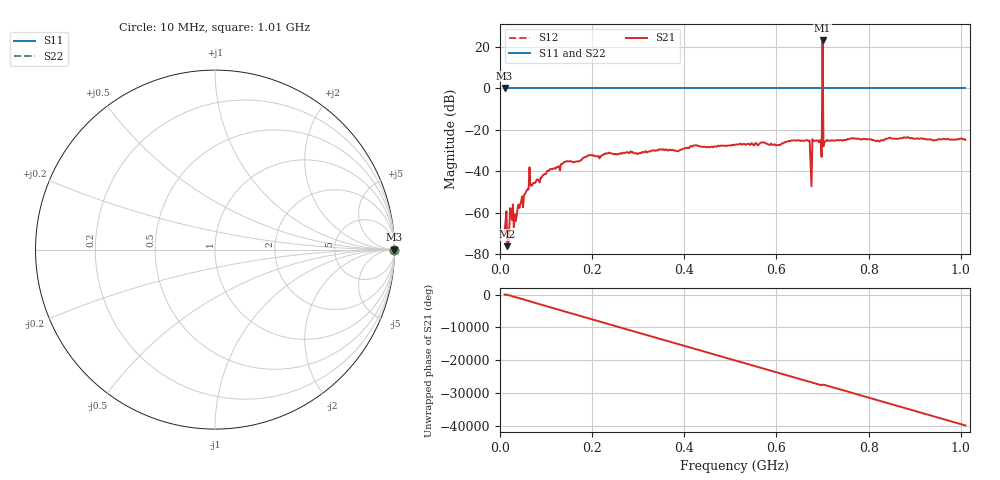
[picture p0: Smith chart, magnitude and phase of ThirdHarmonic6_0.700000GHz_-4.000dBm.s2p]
! 8/15/2025 11:22:43 PM
! C:\ANRITSUVNA\TEMP\TEMP.S2P
! CHANNEL.1
! TR.MEASUREMENT
! RAW.DATA
! RF.CORRECTION.OFF
! AVERAGING.OFF
! IF.BANDWIDTH: 5KHZ
! SWEEPTYPE:  FREQ.SWEEP(Linear)
! Reference Plane Port Info
! PORT:  PORT1  PORT2
! DISTANCE:  0  m  0  m
! TIME:  0  s  0  s
! PHASE.OFFSET:  0  deg.  0  deg.
! LOSS:  0  dB  0  dB
! REF.LOSS:  0  dB  0  dB
! REF.FREQ:  0  Hz  0  Hz
! Power Info
! POWER:  -20  dBm  -20  dBm
! EFF.POWER:  -20  dBm  -20  dBm
! SOURCE.ATTEN:  0  dB  0  dB
! TEST.ATTEN:  0  dB  0  dB
# GHZ S RI R 50.0
! FREQ.GHZ  S11RE  S11IM  S21RE  S21IM  S12RE  S12IM  S22RE  S22IM
!; PortSelection: Port_12
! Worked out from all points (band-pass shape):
!   501 points, 10 MHz to 1.01 GHz, reference 50 ohm
!   highest |S21| = 22.96 dB at 700 MHz (marker M1); lowest = -76.2 dB at 16 MHz (marker M2)
!   |S21| within 3 dB of the highest: 699.8931 MHz to 700.1176 MHz (224.5 kHz wide, 0.0321 % of centre)
!   lowest |S11| = 0.0 dB at 10 MHz (marker M3)
!   |S11| at or under -10 dB: nowhere
!   |S22| runs from 0.0 to 0.0 dB; largest |S21 - S12| = 14
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0.01  1 0  0.000348 2.3e-05  1 0  1 0
0.016  1 0  0.000123 -9.34e-05  1 0  1 0
0.02  1 0  0.000204 0.000327  1 0  1 0
0.024  1 0  0.00106 0.000502  1 0  1 0
0.034  1 0  0.000214 -0.000578  1 0  1 0
0.06  1 0  0.00143 -0.00336  1 0  1 0
0.068  1 0  0.00375 -0.00234  1 0  1 0
0.142  1 0  -0.0153 -0.00636  1 0  1 0
0.178  1 0  -0.0186 -0.0043  1 0  1 0
0.344  1 0  0.032 -0.00694  1 0  1 0
0.51  1 0  -0.0396 0.0168  1 0  1 0
0.668  1 0  0.00889 -0.0541  1 0  1 0
0.672  1 0  -0.0277 0.0467  1 0  1 0
0.678  1 0  -0.0295 -0.0505  1 0  1 0
0.682  1 0  0.0111 0.0521  1 0  1 0
0.694  1 0  0.038 -0.0395  1 0  1 0
0.696  1 0  -0.0333 -0.045  1 0  1 0
0.7  1 0  2.62 -13.81  1 0  1 0
0.704  1 0  -0.000737 -0.0495  1 0  1 0
0.706  1 0  -0.0503 -0.0106  1 0  1 0
0.844  1 0  0.0489 0.0396  1 0  1 0
1.01  1 0  -0.0554 -0.00959  1 0  1 0
